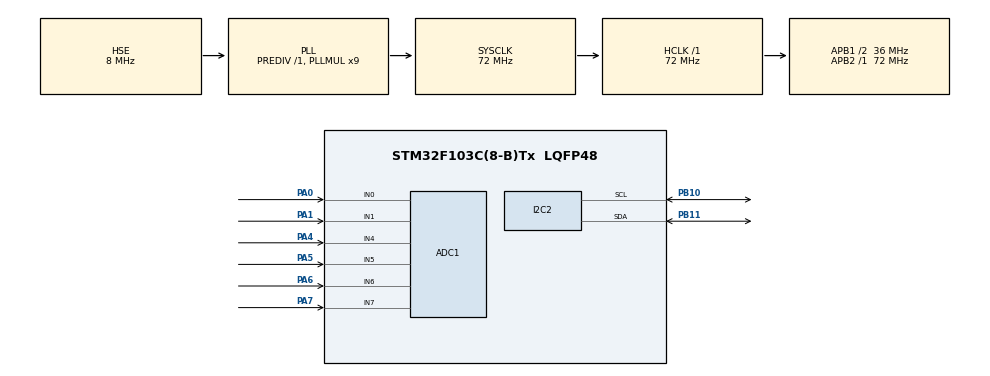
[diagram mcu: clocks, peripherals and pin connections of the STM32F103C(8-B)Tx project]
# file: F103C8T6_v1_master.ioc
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ADC1.Channel-0\#ChannelRegularConversion=ADC_CHANNEL_0
ADC1.Channel-1\#ChannelRegularConversion=ADC_CHANNEL_1
ADC1.Channel-2\#ChannelRegularConversion=ADC_CHANNEL_4
ADC1.Channel-3\#ChannelRegularConversion=ADC_CHANNEL_5
ADC1.Channel-4\#ChannelRegularConversion=ADC_CHANNEL_6
ADC1.Channel-5\#ChannelRegularConversion=ADC_CHANNEL_7
ADC1.NbrOfConversion=6
ADC1.NbrOfConversionFlag=1
ADC1.Rank-0\#ChannelRegularConversion=1
ADC1.Rank-1\#ChannelRegularConversion=2
ADC1.Rank-2\#ChannelRegularConversion=3
ADC1.Rank-3\#ChannelRegularConversion=4
ADC1.Rank-4\#ChannelRegularConversion=5
ADC1.Rank-5\#ChannelRegularConversion=6
ADC1.SamplingTime-0\#ChannelRegularConversion=ADC_SAMPLETIME_28CYCLES_5
ADC1.SamplingTime-1\#ChannelRegularConversion=ADC_SAMPLETIME_28CYCLES_5
ADC1.SamplingTime-2\#ChannelRegularConversion=ADC_SAMPLETIME_28CYCLES_5
ADC1.SamplingTime-3\#ChannelRegularConversion=ADC_SAMPLETIME_28CYCLES_5
ADC1.SamplingTime-4\#ChannelRegularConversion=ADC_SAMPLETIME_28CYCLES_5
ADC1.SamplingTime-5\#ChannelRegularConversion=ADC_SAMPLETIME_28CYCLES_5
ADC1.master=1
Dma.ADC1.0.Direction=DMA_PERIPH_TO_MEMORY
Dma.ADC1.0.Instance=DMA1_Channel1
Dma.ADC1.0.MemDataAlignment=DMA_MDATAALIGN_HALFWORD
Dma.ADC1.0.MemInc=DMA_MINC_ENABLE
Dma.ADC1.0.Mode=DMA_NORMAL
Dma.ADC1.0.PeriphDataAlignment=DMA_PDATAALIGN_HALFWORD
Dma.ADC1.0.PeriphInc=DMA_PINC_DISABLE
Dma.ADC1.0.Priority=DMA_PRIORITY_LOW
Dma.Request0=ADC1
Mcu.Family=STM32F1
Mcu.Name=STM32F103C(8-B)Tx
Mcu.Package=LQFP48
NVIC.DMA1_Channel1_IRQn=true\:0\:0\:false\:false\:true\:false\:true\:true
NVIC.PriorityGroup=NVIC_PRIORITYGROUP_4
PA0-WKUP.Signal=ADCx_IN0
PA1.Signal=ADCx_IN1
PA13.Mode=Serial_Wire
PA13.Signal=SYS_JTMS-SWDIO
PA14.Mode=Serial_Wire
PA14.Signal=SYS_JTCK-SWCLK
PA4.Signal=ADCx_IN4
PA5.Signal=ADCx_IN5
PA6.Signal=ADCx_IN6
PA7.Signal=ADCx_IN7
PB10.Mode=I2C
PB10.Signal=I2C2_SCL
PB11.Mode=I2C
PB11.Signal=I2C2_SDA
PD0-OSC_IN.Mode=HSE-External-Oscillator
PD0-OSC_IN.Signal=RCC_OSC_IN
PD1-OSC_OUT.Mode=HSE-External-Oscillator
PD1-OSC_OUT.Signal=RCC_OSC_OUT
ProjectManager.HeapSize=0x200
ProjectManager.StackSize=0x400
ProjectManager.TargetToolchain=MDK-ARM V5.32
RCC.ADCPresc=RCC_ADCPCLK2_DIV6
RCC.AHBFreq_Value=72000000
RCC.APB1CLKDivider=RCC_HCLK_DIV2
RCC.APB1Freq_Value=36000000
RCC.APB1TimFreq_Value=72000000
RCC.APB2Freq_Value=72000000
RCC.APB2TimFreq_Value=72000000
RCC.HCLKFreq_Value=72000000
RCC.PLLMUL=RCC_PLL_MUL9
RCC.PLLSourceVirtual=RCC_PLLSOURCE_HSE
RCC.SYSCLKFreq_VALUE=72000000
RCC.SYSCLKSource=RCC_SYSCLKSOURCE_PLLCLK
RCC.USBFreq_Value=72000000
SH.ADCx_IN0.0=ADC1_IN0,IN0
SH.ADCx_IN1.0=ADC1_IN1,IN1
SH.ADCx_IN4.0=ADC1_IN4,IN4
SH.ADCx_IN5.0=ADC1_IN5,IN5
SH.ADCx_IN6.0=ADC1_IN6,IN6
SH.ADCx_IN7.0=ADC1_IN7,IN7
board=custom

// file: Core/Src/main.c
/* USER CODE BEGIN Header */
/**
  ******************************************************************************
  * @file           : main.c
  * @brief          : Main program body
  ******************************************************************************
  * @attention
  *
  * Copyright (c) 2022 STMicroelectronics.
  * All rights reserved.
  *
  * This software is licensed under terms that can be found in the LICENSE file
  * in the root directory of this software component.
  * If no LICENSE file comes with this software, it is provided AS-IS.
  *
  ******************************************************************************
  */
/* USER CODE END Header */
#include "main.h"

/* USER CODE BEGIN Includes */

#include <stdio.h>
#include "Lcd_1602.h"

/* USER CODE END Includes */

 ADC_HandleTypeDef hadc1;
DMA_HandleTypeDef hdma_adc1;

I2C_HandleTypeDef hi2c2;

/* USER CODE BEGIN PV */

volatile uint32_t time = 0;
volatile uint32_t time_init_uart = 0;
volatile uint32_t time_send_sim800 = 0;
volatile uint32_t time_adc_u = 0;

volatile uint8_t flag_adc_ready = 0;
volatile uint16_t adc[8] = {0,};
volatile uint16_t data_adc[8] = {0,};

uint16_t mid_value = 0;
//
uint16_t last_value_max_u1 = 0;
uint16_t last_value_min_u1 = 0;
uint16_t max_filtered_u1 = 0;
uint16_t min_filtered_u1 = 0;
uint32_t u1 = 0;
//
//
uint16_t last_value_max_u2 = 0;
uint16_t last_value_min_u2 = 0;
uint16_t max_filtered_u2 = 0;
uint16_t min_filtered_u2 = 0;
uint32_t u2 = 0;
//
//
uint16_t last_value_max_u3 = 0;
uint16_t last_value_min_u3 = 0;
uint16_t max_filtered_u3 = 0;
uint16_t min_filtered_u3 = 0;
uint32_t u3 = 0;
//
//
uint16_t last_value_max_u4 = 0;
uint16_t last_value_min_u4 = 0;
uint16_t max_filtered_u4 = 0;
uint16_t min_filtered_u4 = 0;
uint32_t u4 = 0;
//
//
uint16_t last_value_max_u5 = 0;
uint16_t last_value_min_u5 = 0;
uint16_t max_filtered_u5 = 0;
uint16_t min_filtered_u5 = 0;
uint32_t u5 = 0;
//
//
uint16_t last_value_max_u6 = 0;
uint16_t last_value_min_u6 = 0;
uint16_t max_filtered_u6 = 0;
uint16_t min_filtered_u6 = 0;
uint32_t u6 = 0;
//
uint16_t value = 0;
uint8_t index_adc_dma = 0;

uint16_t voltage[6] = {0,};

////SPI
//uint8_t data_u_spi[12] = {0,};
//uint8_t u1, u2, u3, u4, u5, u6;

//UART
uint8_t uart_count = 0;
uint8_t data_uart_receive = 0;
uint8_t data_mas_uart[100] = {0,};
uint8_t flag_uart_init = 0;

/* USER CODE END PV */

void SystemClock_Config(void);
static void MX_GPIO_Init(void);
static void MX_DMA_Init(void);
static void MX_ADC1_Init(void);
static void MX_I2C2_Init(void);

/* USER CODE BEGIN 0 */

void HAL_ADC_ConvCpltCallback(ADC_HandleTypeDef* hadc){

	if(hadc->Instance == ADC1){

		flag_adc_ready = 1;

	}

}

/* USER CODE END 0 */

int main(void)
{

  /* MCU Configuration--------------------------------------------------------*/

  /* Reset of all peripherals, Initializes the Flash interface and the Systick. */
  HAL_Init();

  /* Configure the system clock */
  SystemClock_Config();

  /* Initialize all configured peripherals */
  MX_GPIO_Init();
  MX_DMA_Init();
  MX_ADC1_Init();
  MX_I2C2_Init();
  /* USER CODE BEGIN 2 */

//	MX_GPIO_Init();
//  MX_I2C2_Init();
//  MX_DMA_Init();
//  MX_USART1_UART_Init();
//  MX_SPI1_Init();
//  MX_ADC_Init();

	//------------------------------------------
	HAL_ADCEx_Calibration_Start(&hadc1);
	HAL_ADC_Start_DMA(&hadc1, (uint32_t*)adc, 6);
	//HAL_ADC_Start_IT(&hadc);

	HAL_Delay(100);

  Init_lcd_1602(&hi2c2);
  lcd_led_on();
  char mas_char[21];
  int count=0;

	mid_value = 4096/2;
	last_value_min_u1 = mid_value;
	last_value_max_u1 = mid_value;
	last_value_min_u2 = mid_value;
	last_value_max_u2 = mid_value;
	last_value_min_u3 = mid_value;
	last_value_max_u3 = mid_value;
	last_value_min_u4 = mid_value;
	last_value_max_u4 = mid_value;
	last_value_min_u5 = mid_value;
	last_value_max_u5 = mid_value;
	last_value_min_u6 = mid_value;
	last_value_max_u6 = mid_value;
	//------------------------------------------

  /* USER CODE END 2 */

  /* Infinite loop */
  /* USER CODE BEGIN WHILE */
  while (1)
  {

		if( flag_adc_ready ){

				HAL_ADC_Stop_DMA(&hadc1); // не обѿзѿтельно

				//copy adc to adc temp bufer, adc set zero;
				for( uint8_t i = 0; i<8; i++){
					data_adc[i] = adc[i];
					adc[i] = 0;
				}

				//detect min max
				value = data_adc[0];
				if (value > last_value_max_u1) last_value_max_u1 = value;
				if (value < last_value_min_u1) last_value_min_u1 = value;
				value = data_adc[1];
				if (value > last_value_max_u2) last_value_max_u2 = value;
				if (value < last_value_min_u2) last_value_min_u2 = value;
				value = data_adc[2];
				if (value > last_value_max_u3) last_value_max_u3 = value;
				if (value < last_value_min_u3) last_value_min_u3 = value;
				value = data_adc[3];
				if (value > last_value_max_u4) last_value_max_u4 = value;
				if (value < last_value_min_u4) last_value_min_u4 = value;
				value = data_adc[4];
				if (value > last_value_max_u5) last_value_max_u5 = value;
				if (value < last_value_min_u5) last_value_min_u5 = value;
				value = data_adc[5];
				if (value > last_value_max_u6) last_value_max_u6 = value;
				if (value < last_value_min_u6) last_value_min_u6 = value;

				//  intetval > 40ms ?
				if( ( HAL_GetTick() - time_adc_u ) > 40 ){ // intetval 40ms

						//	u1	-----------------------------------------------------------------
						max_filtered_u1 = (1 - 0.2) * max_filtered_u1 + 0.2 * last_value_max_u1;
						min_filtered_u1 = (1 - 0.2) * min_filtered_u1 + 0.2 * last_value_min_u1;

						last_value_max_u1 = mid_value;
						last_value_min_u1 = mid_value;

						u1 = max_filtered_u1 - min_filtered_u1;	//amplitude
						u1 = u1 * 100;
						u1 = u1/1154;
						if( u1 > 0 && u1 < 50){
								u1 = u1 - 1;
						}
						if(u1 < 5) u1=0;

						//	u2	-----------------------------------------------------------------
						max_filtered_u2 = (1 - 0.2) * max_filtered_u2 + 0.2 * last_value_max_u2;
						min_filtered_u2 = (1 - 0.2) * min_filtered_u2 + 0.2 * last_value_min_u2;

						last_value_max_u2 = mid_value;
						last_value_min_u2 = mid_value;

						u2 = max_filtered_u2 - min_filtered_u2;	//amplitude
						u2 = u2 * 100;
						u2 = u2/1120;
						if( u2 > 0 && u2 < 50){
								u2 = u2 - 1;
						}
						if(u2 < 5) u2=0;

						//	u3	-----------------------------------------------------------------
						max_filtered_u3 = (1 - 0.2) * max_filtered_u3 + 0.2 * last_value_max_u3;
						min_filtered_u3 = (1 - 0.2) * min_filtered_u3 + 0.2 * last_value_min_u3;

						last_value_max_u3 = mid_value;
						last_value_min_u3 = mid_value;

						u3 = max_filtered_u3 - min_filtered_u3;	//amplitude
						u3 = u3 * 100;
						u3 = u3/1120;
						if( u3 > 0 && u3 < 50){
								u3 = u3 - 1;
						}
						if(u3 < 5) u3=0;

						//	u4	-----------------------------------------------------------------
						max_filtered_u4 = (1 - 0.2) * max_filtered_u4 + 0.2 * last_value_max_u4;
						min_filtered_u4 = (1 - 0.2) * min_filtered_u4 + 0.2 * last_value_min_u4;

						last_value_max_u4 = mid_value;
						last_value_min_u4 = mid_value;

						u4 = max_filtered_u4 - min_filtered_u4;	//amplitude
						u4 = u4 * 100;
						u4 = u4/1120;
						if( u4 > 0 && u4 < 50){
								u4 = u4 - 1;
						}
						if(u4 < 5) u4=0;

						//	u5	-----------------------------------------------------------------
						max_filtered_u5 = (1 - 0.2) * max_filtered_u5 + 0.2 * last_value_max_u5;
						min_filtered_u5 = (1 - 0.2) * min_filtered_u5 + 0.2 * last_value_min_u5;

						last_value_max_u5 = mid_value;
						last_value_min_u5 = mid_value;

						u5 = max_filtered_u5 - min_filtered_u5;	//amplitude
						u5 = u5 * 100;
						u5 = u5/1120;
						if( u5 > 0 && u5 < 50){
								u5 = u5 - 1;
						}
						if(u5 < 5) u5=0;

						//	u6	-----------------------------------------------------------------
						max_filtered_u6 = (1 - 0.2) * max_filtered_u6 + 0.2 * last_value_max_u6;
						min_filtered_u6 = (1 - 0.2) * min_filtered_u6 + 0.2 * last_value_min_u6;

						last_value_max_u6 = mid_value;
						last_value_min_u6 = mid_value;

						u6 = max_filtered_u6 - min_filtered_u6;	//amplitude
						u6 = u6 * 100;
						u6 = u6/1120;
						if( u6 > 0 && u6 < 50){
								u6 = u6 - 1;
						}
						if(u6 < 5) u6=0;

						voltage[0] = u1;
						voltage[1] = u2;
						voltage[2] = u3;
						voltage[3] = u4;
						voltage[4] = u5;
						voltage[5] = u6;

						//
						//sprintf(mas_char,"%4uv  %2u,%02u", u1, i1_d, i1_f);
						//

						//
						sprintf(mas_char,"%3u   %3u   %3u", u1, u2, u3);
						Lcd_1602_SetPos(&hi2c2, 0, 0);
						Lcd_1602_Write_Data(&hi2c2, (uint8_t *)mas_char);
						//
						//
						sprintf(mas_char,"%3u   %3u   %3u", u4, u5, u6);
						Lcd_1602_SetPos(&hi2c2, 0, 1);
						Lcd_1602_Write_Data(&hi2c2, (uint8_t *)mas_char);
						//

//						//
//						sprintf(mas_char,"%2u,%01u %2u,%01u %2u,%01u ", i1_d, i1_f, i2_d, i2_f, i3_d, i3_f);
//						Lcd_1602_SetPos(&hi2c2, 0, 0);
//						Lcd_1602_Write_Data(&hi2c2, (uint8_t *)mas_char);
//						//
//						//
//						sprintf(mas_char,"%2u,%01u %2u,%01u %2u,%01u ", i4_d, i4_f, i5_d, i5_f, i6_d, i6_f);
//						Lcd_1602_SetPos(&hi2c2, 0, 1);
//						Lcd_1602_Write_Data(&hi2c2, (uint8_t *)mas_char);
						//

						time_adc_u = HAL_GetTick();		//next 40ms

				}

			flag_adc_ready = 0;
			//HAL_ADC_Start_IT(&hadc);	//запу�?тим новое аналогово-цифровое преобразование
			HAL_ADC_Start_DMA(&hadc1, (uint32_t*)adc, 6);	//запуѿтим новое аналогово-цифровое преобразование
		}

		if( ( HAL_GetTick() - time ) > 100 ){ // intetval 1000ms = 1s
				HAL_GPIO_TogglePin(GPIOC, GPIO_PIN_13);

				time = HAL_GetTick();
		}

		if( ( HAL_GetTick() - time_init_uart ) > 40000 ){ // intetval 1000ms = 1s

				if( flag_uart_init == 0 ){
						//init sim800
//						init_sim800_udp(&huart1);

						flag_uart_init = 1;		//do not call init next time
				}

				time_init_uart = HAL_GetTick();
		}

		if( ( HAL_GetTick() - time_send_sim800 ) > 15000 ){ // intetval 1000ms = 1s

				if( flag_uart_init == 1 ){

//						sim800_send_udp_data( &huart1, u1, u2, u3, u4, u5, u6, i1_d, i1_f, i2_d, i2_f, i3_d, i3_f, i4_d, i4_f, i5_d, i5_f, i6_d, i6_f);
				}

				time_send_sim800 = HAL_GetTick();
		}

    /* USER CODE END WHILE */

  }
}

void SystemClock_Config(void)
{
  RCC_OscInitTypeDef RCC_OscInitStruct = {0};
  RCC_ClkInitTypeDef RCC_ClkInitStruct = {0};
  RCC_PeriphCLKInitTypeDef PeriphClkInit = {0};

  /** Initializes the RCC Oscillators according to the specified parameters
  * in the RCC_OscInitTypeDef structure.
  */
  RCC_OscInitStruct.OscillatorType = RCC_OSCILLATORTYPE_HSE;
  RCC_OscInitStruct.HSEState = RCC_HSE_ON;
  RCC_OscInitStruct.HSEPredivValue = RCC_HSE_PREDIV_DIV1;
  RCC_OscInitStruct.HSIState = RCC_HSI_ON;
  RCC_OscInitStruct.PLL.PLLState = RCC_PLL_ON;
  RCC_OscInitStruct.PLL.PLLSource = RCC_PLLSOURCE_HSE;
  RCC_OscInitStruct.PLL.PLLMUL = RCC_PLL_MUL9;
  if (HAL_RCC_OscConfig(&RCC_OscInitStruct) != HAL_OK)
  {
    Error_Handler();
  }

  /** Initializes the CPU, AHB and APB buses clocks
  */
  RCC_ClkInitStruct.ClockType = RCC_CLOCKTYPE_HCLK|RCC_CLOCKTYPE_SYSCLK
                              |RCC_CLOCKTYPE_PCLK1|RCC_CLOCKTYPE_PCLK2;
  RCC_ClkInitStruct.SYSCLKSource = RCC_SYSCLKSOURCE_PLLCLK;
  RCC_ClkInitStruct.AHBCLKDivider = RCC_SYSCLK_DIV1;
  RCC_ClkInitStruct.APB1CLKDivider = RCC_HCLK_DIV2;
  RCC_ClkInitStruct.APB2CLKDivider = RCC_HCLK_DIV1;

  if (HAL_RCC_ClockConfig(&RCC_ClkInitStruct, FLASH_LATENCY_2) != HAL_OK)
  {
    Error_Handler();
  }
  PeriphClkInit.PeriphClockSelection = RCC_PERIPHCLK_ADC;
  PeriphClkInit.AdcClockSelection = RCC_ADCPCLK2_DIV6;
  if (HAL_RCCEx_PeriphCLKConfig(&PeriphClkInit) != HAL_OK)
  {
    Error_Handler();
  }
}

static void MX_ADC1_Init(void)
{

  ADC_ChannelConfTypeDef sConfig = {0};

  /** Common config
  */
  hadc1.Instance = ADC1;
  hadc1.Init.ScanConvMode = ADC_SCAN_ENABLE;
  hadc1.Init.ContinuousConvMode = DISABLE;
  hadc1.Init.DiscontinuousConvMode = DISABLE;
  hadc1.Init.ExternalTrigConv = ADC_SOFTWARE_START;
  hadc1.Init.DataAlign = ADC_DATAALIGN_RIGHT;
  hadc1.Init.NbrOfConversion = 6;
  if (HAL_ADC_Init(&hadc1) != HAL_OK)
  {
    Error_Handler();
  }

  /** Configure Regular Channel
  */
  sConfig.Channel = ADC_CHANNEL_0;
  sConfig.Rank = ADC_REGULAR_RANK_1;
  sConfig.SamplingTime = ADC_SAMPLETIME_28CYCLES_5;
  if (HAL_ADC_ConfigChannel(&hadc1, &sConfig) != HAL_OK)
  {
    Error_Handler();
  }

  /** Configure Regular Channel
  */
  sConfig.Channel = ADC_CHANNEL_1;
  sConfig.Rank = ADC_REGULAR_RANK_2;
  if (HAL_ADC_ConfigChannel(&hadc1, &sConfig) != HAL_OK)
  {
    Error_Handler();
  }

  /** Configure Regular Channel
  */
  sConfig.Channel = ADC_CHANNEL_4;
  sConfig.Rank = ADC_REGULAR_RANK_3;
  if (HAL_ADC_ConfigChannel(&hadc1, &sConfig) != HAL_OK)
  {
    Error_Handler();
  }

  /** Configure Regular Channel
  */
  sConfig.Channel = ADC_CHANNEL_5;
  sConfig.Rank = ADC_REGULAR_RANK_4;
  if (HAL_ADC_ConfigChannel(&hadc1, &sConfig) != HAL_OK)
  {
    Error_Handler();
  }

  /** Configure Regular Channel
  */
  sConfig.Channel = ADC_CHANNEL_6;
  sConfig.Rank = ADC_REGULAR_RANK_5;
  if (HAL_ADC_ConfigChannel(&hadc1, &sConfig) != HAL_OK)
  {
    Error_Handler();
  }

  /** Configure Regular Channel
  */
  sConfig.Channel = ADC_CHANNEL_7;
  sConfig.Rank = ADC_REGULAR_RANK_6;
  if (HAL_ADC_ConfigChannel(&hadc1, &sConfig) != HAL_OK)
  {
    Error_Handler();
  }

}

static void MX_I2C2_Init(void)
{

  hi2c2.Instance = I2C2;
  hi2c2.Init.ClockSpeed = 100000;
  hi2c2.Init.DutyCycle = I2C_DUTYCYCLE_2;
  hi2c2.Init.OwnAddress1 = 0;
  hi2c2.Init.AddressingMode = I2C_ADDRESSINGMODE_7BIT;
  hi2c2.Init.DualAddressMode = I2C_DUALADDRESS_DISABLE;
  hi2c2.Init.OwnAddress2 = 0;
  hi2c2.Init.GeneralCallMode = I2C_GENERALCALL_DISABLE;
  hi2c2.Init.NoStretchMode = I2C_NOSTRETCH_DISABLE;
  if (HAL_I2C_Init(&hi2c2) != HAL_OK)
  {
    Error_Handler();
  }

}

static void MX_DMA_Init(void)
{

  /* DMA controller clock enable */
  __HAL_RCC_DMA1_CLK_ENABLE();

  /* DMA interrupt init */
  /* DMA1_Channel1_IRQn interrupt configuration */
  HAL_NVIC_SetPriority(DMA1_Channel1_IRQn, 0, 0);
  HAL_NVIC_EnableIRQ(DMA1_Channel1_IRQn);

}

static void MX_GPIO_Init(void)
{

  /* GPIO Ports Clock Enable */
  __HAL_RCC_GPIOD_CLK_ENABLE();
  __HAL_RCC_GPIOA_CLK_ENABLE();
  __HAL_RCC_GPIOB_CLK_ENABLE();

}

void Error_Handler(void)
{
  __disable_irq();
  while (1)
  {
  }
}
